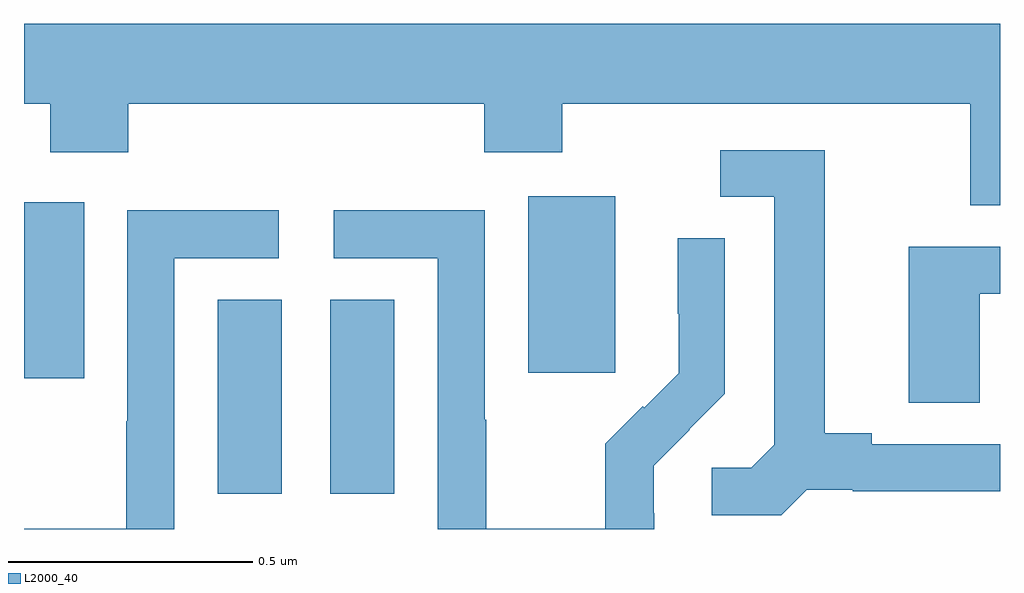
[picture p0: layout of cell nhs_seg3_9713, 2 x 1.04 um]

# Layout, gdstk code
import gdstk
lib = gdstk.Library(unit=1e-6, precision=1e-09)
def R(c, l, rs):  # rectangles x0, y0, x1, y1
    for r in rs: c.add(gdstk.rectangle(r[:2], r[2:], *l))
def P(c, l, *ps):  # polygons
    for p in ps: c.add(gdstk.Polygon(p, *l))
L2000_40 = (2000, 40)

nhs_seg3_9713 = lib.new_cell('nhs_seg3_9713')
R(nhs_seg3_9713, L2000_40, [(232.397,677.473,232.528,677.87), (232.628,677.473,232.759,677.87), (232,677.709,232.123,678.07), (233.033,677.721,233.212,678.082)])
P(nhs_seg3_9713, L2000_40, [(234,678.436),(232,678.436),(232,678.272),(232.054,678.272),(232.054,678.173),(232.214,678.173),(232.214,678.272),(232.943,678.272),(232.943,678.173),(233.103,678.173),(233.103,678.272),(233.939,678.272),(233.939,678.064),(234,678.064)],
  [(233.604,677.481),(233.698,677.481),(233.698,677.478),(234,677.478),(234,677.574),(233.737,677.574),(233.737,677.597),(233.641,677.597),(233.641,678.177),(233.427,678.177),(233.427,678.081),(233.537,678.081),(233.537,677.573),(233.49,677.526),(233.409,677.526),(233.409,677.429),(233.552,677.429)],
  [(233.292,677.433),(233.29,677.433),(233.29,677.53),(233.364,677.604),(233.363,677.605),(233.436,677.678),(233.436,677.996),(233.34,677.996),(233.34,677.842),(233.342,677.842),(233.342,677.72),(233.271,677.649),(233.268,677.652),(233.191,677.575),(233.191,677.401),(232.947,677.401),(232.947,677.624),(232.944,677.624),(232.944,678.054),(232.635,678.054),(232.635,677.955),(232.848,677.955),(232.848,677.4),(233.292,677.4)],
  [(232.308,677.955),(232.522,677.955),(232.522,678.054),(232.212,678.054),(232.212,677.621),(232.21,677.621),(232.21,677.401),(232,677.401),(232,677.4),(232.308,677.4)],
  [(233.958,677.883),(234,677.883),(234,677.979),(233.813,677.979),(233.813,677.659),(233.958,677.659)])

lib.write_gds('nhs_seg3_9713.gds')
